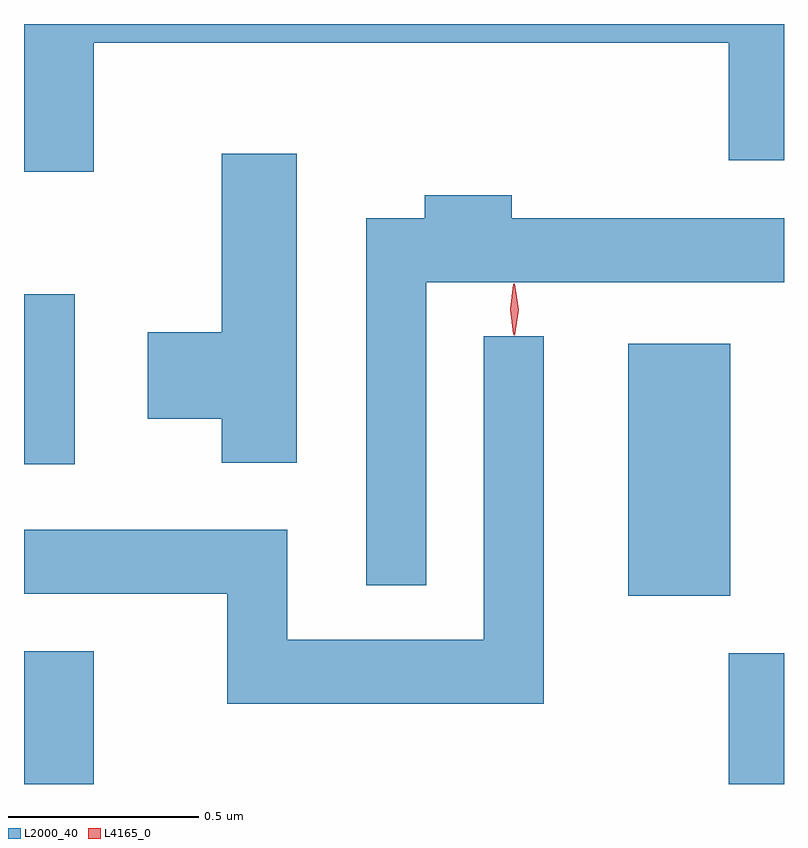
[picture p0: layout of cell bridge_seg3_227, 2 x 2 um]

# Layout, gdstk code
import gdstk
lib = gdstk.Library(unit=1e-6, precision=1e-09)
def R(c, l, rs):  # rectangles x0, y0, x1, y1
    for r in rs: c.add(gdstk.rectangle(r[:2], r[2:], *l))
def P(c, l, *ps):  # polygons
    for p in ps: c.add(gdstk.Polygon(p, *l))
L2000_40 = (2000, 40)
L4165_0 = (4165, 0)

bridge_seg3_227 = lib.new_cell('bridge_seg3_227')
R(bridge_seg3_227, L2000_40, [(928.506,1155.145,928.689,1155.494), (930.361,1155.145,930.506,1155.489), (930.096,1155.641,930.364,1156.304), (928.506,1155.986,928.639,1156.434)])
P(bridge_seg3_227, L2000_40, [(928.689,1157.096),(930.361,1157.096),(930.361,1156.786),(930.506,1156.786),(930.506,1157.145),(928.506,1157.145),(928.506,1156.756),(928.689,1156.756)],
  [(929.224,1156.804),(929.026,1156.804),(929.026,1156.334),(928.831,1156.334),(928.831,1156.106),(929.026,1156.106),(929.026,1155.991),(929.224,1155.991)],
  [(929.564,1156.466),(930.506,1156.466),(930.506,1156.634),(929.789,1156.634),(929.789,1156.694),(929.561,1156.694),(929.561,1156.634),(929.406,1156.634),(929.406,1155.668),(929.564,1155.668)],
  [(929.874,1156.323),(929.716,1156.323),(929.716,1155.524),(929.199,1155.524),(929.199,1155.814),(928.506,1155.814),(928.506,1155.646),(929.041,1155.646),(929.041,1155.356),(929.874,1155.356)])
P(bridge_seg3_227, L4165_0, [(929.798,1156.323),(929.797,1156.324),(929.788,1156.393),(929.797,1156.462),(929.798,1156.463),(929.798,1156.462),(929.808,1156.393),(929.798,1156.324)],
  [(929.795,1156.327),(929.794,1156.328),(929.785,1156.394),(929.794,1156.46),(929.795,1156.461),(929.796,1156.46),(929.805,1156.394),(929.796,1156.328)])

lib.write_gds('bridge_seg3_227.gds')
